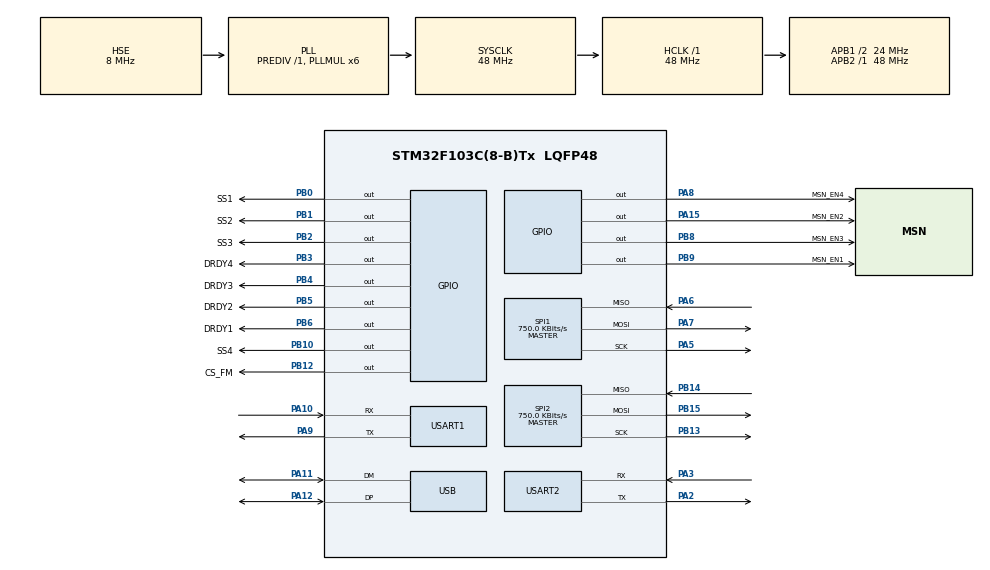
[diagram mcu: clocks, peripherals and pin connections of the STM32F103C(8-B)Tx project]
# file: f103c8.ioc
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Mcu.Family=STM32F1
Mcu.Name=STM32F103C(8-B)Tx
Mcu.Package=LQFP48
NVIC.PriorityGroup=NVIC_PRIORITYGROUP_4
NVIC.RTC_IRQn=true\:0\:0\:false\:false\:true\:true\:true
NVIC.SPI1_IRQn=true\:0\:0\:false\:false\:true\:true\:true
NVIC.SPI2_IRQn=true\:0\:0\:false\:false\:true\:true\:true
NVIC.USB_HP_CAN1_TX_IRQn=true\:0\:0\:false\:false\:true\:true\:true
NVIC.USB_LP_CAN1_RX0_IRQn=true\:0\:0\:false\:false\:true\:true\:true
PA10.Mode=Asynchronous
PA10.Signal=USART1_RX
PA11.Mode=Device
PA11.Signal=USB_DM
PA12.Mode=Device
PA12.Signal=USB_DP
PA13.Mode=Serial_Wire
PA13.Signal=SYS_JTMS-SWDIO
PA14.Mode=Serial_Wire
PA14.Signal=SYS_JTCK-SWCLK
PA15.GPIO_Label=MSN_EN2
PA15.Signal=GPIO_Output
PA2.Mode=Asynchronous
PA2.Signal=USART2_TX
PA3.Mode=Asynchronous
PA3.Signal=USART2_RX
PA5.Mode=Full_Duplex_Master
PA5.Signal=SPI1_SCK
PA6.Mode=Full_Duplex_Master
PA6.Signal=SPI1_MISO
PA7.Mode=Full_Duplex_Master
PA7.Signal=SPI1_MOSI
PA8.GPIO_Label=MSN_EN4
PA8.Signal=GPIO_Output
PA9.Mode=Asynchronous
PA9.Signal=USART1_TX
PB0.GPIO_Label=SS1
PB0.Signal=GPIO_Output
PB1.GPIO_Label=SS2
PB1.Signal=GPIO_Output
PB10.GPIO_Label=SS4
PB10.Signal=GPIO_Output
PB12.GPIO_Label=CS_FM
PB12.Signal=GPIO_Output
PB13.Mode=Full_Duplex_Master
PB13.Signal=SPI2_SCK
PB14.Mode=Full_Duplex_Master
PB14.Signal=SPI2_MISO
PB15.Mode=Full_Duplex_Master
PB15.Signal=SPI2_MOSI
PB2.GPIO_Label=SS3
PB2.Signal=GPIO_Output
PB3.GPIO_Label=DRDY4
PB3.Signal=GPIO_Output
PB4.GPIO_Label=DRDY3
PB4.Signal=GPIO_Output
PB5.GPIO_Label=DRDY2
PB5.Signal=GPIO_Output
PB6.GPIO_Label=DRDY1
PB6.Signal=GPIO_Output
PB8.GPIO_Label=MSN_EN3
PB8.Signal=GPIO_Output
PB9.GPIO_Label=MSN_EN1
PB9.Signal=GPIO_Output
PD0-OSC_IN.Mode=HSE-External-Oscillator
PD0-OSC_IN.Signal=RCC_OSC_IN
PD1-OSC_OUT.Mode=HSE-External-Oscillator
PD1-OSC_OUT.Signal=RCC_OSC_OUT
ProjectManager.HeapSize=0x200
ProjectManager.StackSize=0x400
ProjectManager.TargetToolchain=STM32CubeIDE
RCC.AHBFreq_Value=48000000
RCC.APB1CLKDivider=RCC_HCLK_DIV2
RCC.APB1Freq_Value=24000000
RCC.APB1TimFreq_Value=48000000
RCC.APB2Freq_Value=48000000
RCC.APB2TimFreq_Value=48000000
RCC.HCLKFreq_Value=48000000
RCC.PLLMUL=RCC_PLL_MUL6
RCC.PLLSourceVirtual=RCC_PLLSOURCE_HSE
RCC.SYSCLKFreq_VALUE=48000000
RCC.SYSCLKSource=RCC_SYSCLKSOURCE_PLLCLK
RCC.USBFreq_Value=48000000
SPI1.BaudRatePrescaler=SPI_BAUDRATEPRESCALER_64
SPI1.CalculateBaudRate=750.0 KBits/s
SPI1.Direction=SPI_DIRECTION_2LINES
SPI1.Mode=SPI_MODE_MASTER
SPI1.VirtualType=VM_MASTER
SPI2.BaudRatePrescaler=SPI_BAUDRATEPRESCALER_32
SPI2.CalculateBaudRate=750.0 KBits/s
SPI2.Direction=SPI_DIRECTION_2LINES
SPI2.Mode=SPI_MODE_MASTER
SPI2.VirtualType=VM_MASTER
USART1.VirtualMode=VM_ASYNC
USART2.VirtualMode=VM_ASYNC
VP_RTC_VS_RTC_Activate.Mode=RTC_Enabled
board=custom

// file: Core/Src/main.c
/* USER CODE BEGIN Header */
/**
  ******************************************************************************
  * @file           : main.c
  * @brief          : Main program body
  ******************************************************************************
  * @attention
  *
  * <h2><center>&copy; Copyright (c) 2024 STMicroelectronics.
  * All rights reserved.</center></h2>
  *
  * This software component is licensed by ST under BSD 3-Clause license,
  * the "License"; You may not use this file except in compliance with the
  * License. You may obtain a copy of the License at:
  *                        opensource.org/licenses/BSD-3-Clause
  *
  ******************************************************************************
  */
/* USER CODE END Header */
#include "main.h"

/* USER CODE BEGIN Includes */
#include "stdarg.h"
#include "RM3100QUAD.h"
/* USER CODE END Includes */

/* USER CODE BEGIN PTD */
//#define CDC_USB_DEBUG
#define UART_DEBUG
/* USER CODE END PTD */

/* USER CODE BEGIN PD */
#define sector_size 32
/* USER CODE END PD */

/* USER CODE BEGIN PM */
void myprintf(const char *fmt, ...);
/* USER CODE END PM */

RTC_HandleTypeDef hrtc;

SPI_HandleTypeDef hspi1;
SPI_HandleTypeDef hspi2;

UART_HandleTypeDef huart1;
UART_HandleTypeDef huart2;

PCD_HandleTypeDef hpcd_USB_FS;

/* USER CODE BEGIN PV */

//uint8_t tx[]={'S','A','N','G','A','M'};

uint16_t address = 0x00;
uint8_t status_reg=0;
uint8_t READ_FLAG=0;
int tx[70];
uint16_t time_counter=0;

uint8_t DEBUG_DATA_RX_FLAG = 0;
// variables used by the filesystem
typedef struct{
	uint32_t secCount;
	uint32_t bootCount;
}app_count_t;
uint8_t data[20];
app_count_t Counter = {0};

uint8_t COMMAND[] = {0x53,0x0e,0x0d,0x0e,0x01,0x7e};
uint8_t OBC_HANDSHAKE_SUCESS,OBC_HANDSHAKE_RX[7]={'\0'},OBC_HANDSHAKE_TX[7]={'\0'};//,OBC_HANDSHAKE_RX[7]={'\0'};
/* USER CODE END PV */

void SystemClock_Config(void);
static void MX_GPIO_Init(void);
static void MX_SPI1_Init(void);
static void MX_SPI2_Init(void);
static void MX_USART1_UART_Init(void);
static void MX_USART2_UART_Init(void);
static void MX_RTC_Init(void);
static void MX_USB_PCD_Init(void);
/* USER CODE BEGIN PFP */
uint8_t OBC_HANDSHAKE(){
	memset(OBC_HANDSHAKE_RX, '\0', sizeof(OBC_HANDSHAKE_RX));
	memset(OBC_HANDSHAKE_TX, '\0', sizeof(OBC_HANDSHAKE_TX));
	OBC_HANDSHAKE_SUCESS = 0;
	do{
	if(HAL_UART_Receive(&huart2, OBC_HANDSHAKE_RX, sizeof(OBC_HANDSHAKE_RX),1000)==HAL_OK){
		if(HAL_UART_Transmit(&huart2, OBC_HANDSHAKE_RX, sizeof(OBC_HANDSHAKE_RX), 3000)==HAL_OK){
			OBC_HANDSHAKE_SUCESS = 1;
			HAL_UART_Transmit(&huart1, "HANDSHAKE SUCCESSFULLY\n", "HANDSHAKE SUCCESSFULLY", 1000);
		}
	}
	}while(!OBC_HANDSHAKE_SUCESS);
	return OBC_HANDSHAKE_SUCESS;
}
uint8_t OBC_COMMAND(){
	memset(OBC_HANDSHAKE_RX, '\0', sizeof(OBC_HANDSHAKE_RX));
	memset(OBC_HANDSHAKE_TX, '\0', sizeof(OBC_HANDSHAKE_TX));
	OBC_HANDSHAKE_SUCESS = 0;
	do{
	if(HAL_UART_Receive(&huart2, OBC_HANDSHAKE_RX, sizeof(OBC_HANDSHAKE_RX),1000)==HAL_OK){
		if(HAL_UART_Transmit(&huart2, OBC_HANDSHAKE_RX, sizeof(OBC_HANDSHAKE_RX), 3000)==HAL_OK){
			if(OBC_HANDSHAKE_RX[0] == COMMAND[0] && OBC_HANDSHAKE_RX[1] == COMMAND[1] && OBC_HANDSHAKE_RX[2] == COMMAND[2] && OBC_HANDSHAKE_RX[3] == COMMAND[3] && OBC_HANDSHAKE_RX[4] == COMMAND[4] && OBC_HANDSHAKE_RX[5] == COMMAND[5] && OBC_HANDSHAKE_RX[6] == COMMAND[6] )
				{
				OBC_HANDSHAKE_SUCESS = 1;
				HAL_UART_Transmit(&huart1, "COMMAND SUCCESSFULLY\n", "COMMAND SUCCESSFULLY", 1000);

				}
		}
	}
	}while(!OBC_HANDSHAKE_SUCESS);
	return OBC_HANDSHAKE_SUCESS;
}
/* USER CODE END PFP */

/* USER CODE BEGIN 0 */

// Function to read data from a file in LittleFS

/* USER CODE END 0 */

int main(void)
{

  /* MCU Configuration--------------------------------------------------------*/

  /* Reset of all peripherals, Initializes the Flash interface and the Systick. */
  HAL_Init();

  /* Configure the system clock */
  SystemClock_Config();

  /* Initialize all configured peripherals */
  MX_GPIO_Init();
  MX_SPI1_Init();
  MX_SPI2_Init();
  MX_USART1_UART_Init();
  MX_USART2_UART_Init();
  MX_RTC_Init();
  MX_USB_PCD_Init();
  /* USER CODE BEGIN 2 */
//for(int i=0;i<6;i++){
//
// 	 write_to_file("/epdm_re.txt", "tet sfm test\n", sizeof("tet sfm test\n"));
// 	 HAL_Delay(10000);
//}
  HAL_UART_Transmit(&huart1, "*****************EPDM starting**************\n",sizeof("*****************EPDM starting**************\n"),1000);

  OBC_HANDSHAKE();
//  OBC_COMMAND();
  HAL_GPIO_WritePin(GPIOB, MSN_EN1_Pin, SET); // Set PB9 high
  HAL_GPIO_WritePin(GPIOB, MSN_EN2_Pin, SET); // Set PB8 high
  HAL_GPIO_WritePin(GPIOB, MSN_EN3_Pin, SET); // Set PA15 high
  HAL_GPIO_WritePin(GPIOB, MSN_EN4_Pin, SET); // Set PA8 high
  uint8_t data[20];

  while(1){
	  Read_ID(&hspi2, GPIOB, GPIO_PIN_12, data);
	  if(data[0] == 32){
		  break;
	  }
	  HAL_Delay(10000);
  }

    for(int i=0;i<4;i++){
    	SET_COUNT(i);
    	Continuous_Mode(i);
    	 TMRC_Mode(i);
    }
    int count=0;
//    while(count < 290)
//    {
//
//    		  }
    __init_storage();
    uint8_t eom[]={0xff,0xd9,'\0'};

  /* USER CODE END 2 */

  /* Infinite loop */
  /* USER CODE BEGIN WHILE */
  while (1)
  { time_counter +=1;
	  if(time_counter <= 3000){
		  for(int i=0;i<4;i++){

		  		  Mea_Result(i);
		  		  Comb_measurement(i);
		  	      count++;
		  	      }
//		  HAL_UART_Transmit(&huart1, "\n",1,1000);
//		      sprintf(tx,"\t\tTime counter value: %d\n\r\0",time_counter);
//		      HAL_UART_Transmit(&huart1,tx, strlen(tx),1000);
		  	  HAL_Delay(100);
	  }
	  else{
		  HAL_UART_Transmit(&huart2, eom, sizeof(eom),1000);
		  HAL_Delay(60000);
	  }
    /* USER CODE END WHILE */

    /* USER CODE BEGIN 3 */

//		  count++;
//		  if(count>0){
//			  break;
//		  }

  }
  /* USER CODE END 3 */
}

void SystemClock_Config(void)
{
  RCC_OscInitTypeDef RCC_OscInitStruct = {0};
  RCC_ClkInitTypeDef RCC_ClkInitStruct = {0};
  RCC_PeriphCLKInitTypeDef PeriphClkInit = {0};

  /** Initializes the RCC Oscillators according to the specified parameters
  * in the RCC_OscInitTypeDef structure.
  */
  RCC_OscInitStruct.OscillatorType = RCC_OSCILLATORTYPE_LSI|RCC_OSCILLATORTYPE_HSE;
  RCC_OscInitStruct.HSEState = RCC_HSE_ON;
  RCC_OscInitStruct.HSEPredivValue = RCC_HSE_PREDIV_DIV1;
  RCC_OscInitStruct.HSIState = RCC_HSI_ON;
  RCC_OscInitStruct.LSIState = RCC_LSI_ON;
  RCC_OscInitStruct.PLL.PLLState = RCC_PLL_ON;
  RCC_OscInitStruct.PLL.PLLSource = RCC_PLLSOURCE_HSE;
  RCC_OscInitStruct.PLL.PLLMUL = RCC_PLL_MUL6;
  if (HAL_RCC_OscConfig(&RCC_OscInitStruct) != HAL_OK)
  {
    Error_Handler();
  }
  /** Initializes the CPU, AHB and APB buses clocks
  */
  RCC_ClkInitStruct.ClockType = RCC_CLOCKTYPE_HCLK|RCC_CLOCKTYPE_SYSCLK
                              |RCC_CLOCKTYPE_PCLK1|RCC_CLOCKTYPE_PCLK2;
  RCC_ClkInitStruct.SYSCLKSource = RCC_SYSCLKSOURCE_PLLCLK;
  RCC_ClkInitStruct.AHBCLKDivider = RCC_SYSCLK_DIV1;
  RCC_ClkInitStruct.APB1CLKDivider = RCC_HCLK_DIV2;
  RCC_ClkInitStruct.APB2CLKDivider = RCC_HCLK_DIV1;

  if (HAL_RCC_ClockConfig(&RCC_ClkInitStruct, FLASH_LATENCY_1) != HAL_OK)
  {
    Error_Handler();
  }
  PeriphClkInit.PeriphClockSelection = RCC_PERIPHCLK_RTC|RCC_PERIPHCLK_USB;
  PeriphClkInit.RTCClockSelection = RCC_RTCCLKSOURCE_LSI;
  PeriphClkInit.UsbClockSelection = RCC_USBCLKSOURCE_PLL;
  if (HAL_RCCEx_PeriphCLKConfig(&PeriphClkInit) != HAL_OK)
  {
    Error_Handler();
  }
}

static void MX_RTC_Init(void)
{

  /** Initialize RTC Only
  */
  hrtc.Instance = RTC;
  hrtc.Init.AsynchPrediv = RTC_AUTO_1_SECOND;
  hrtc.Init.OutPut = RTC_OUTPUTSOURCE_ALARM;
  if (HAL_RTC_Init(&hrtc) != HAL_OK)
  {
    Error_Handler();
  }

}

static void MX_SPI1_Init(void)
{

  /* SPI1 parameter configuration*/
  hspi1.Instance = SPI1;
  hspi1.Init.Mode = SPI_MODE_MASTER;
  hspi1.Init.Direction = SPI_DIRECTION_2LINES;
  hspi1.Init.DataSize = SPI_DATASIZE_8BIT;
  hspi1.Init.CLKPolarity = SPI_POLARITY_LOW;
  hspi1.Init.CLKPhase = SPI_PHASE_1EDGE;
  hspi1.Init.NSS = SPI_NSS_SOFT;
  hspi1.Init.BaudRatePrescaler = SPI_BAUDRATEPRESCALER_64;
  hspi1.Init.FirstBit = SPI_FIRSTBIT_MSB;
  hspi1.Init.TIMode = SPI_TIMODE_DISABLE;
  hspi1.Init.CRCCalculation = SPI_CRCCALCULATION_DISABLE;
  hspi1.Init.CRCPolynomial = 10;
  if (HAL_SPI_Init(&hspi1) != HAL_OK)
  {
    Error_Handler();
  }

}

static void MX_SPI2_Init(void)
{

  /* SPI2 parameter configuration*/
  hspi2.Instance = SPI2;
  hspi2.Init.Mode = SPI_MODE_MASTER;
  hspi2.Init.Direction = SPI_DIRECTION_2LINES;
  hspi2.Init.DataSize = SPI_DATASIZE_8BIT;
  hspi2.Init.CLKPolarity = SPI_POLARITY_LOW;
  hspi2.Init.CLKPhase = SPI_PHASE_1EDGE;
  hspi2.Init.NSS = SPI_NSS_SOFT;
  hspi2.Init.BaudRatePrescaler = SPI_BAUDRATEPRESCALER_32;
  hspi2.Init.FirstBit = SPI_FIRSTBIT_MSB;
  hspi2.Init.TIMode = SPI_TIMODE_DISABLE;
  hspi2.Init.CRCCalculation = SPI_CRCCALCULATION_DISABLE;
  hspi2.Init.CRCPolynomial = 10;
  if (HAL_SPI_Init(&hspi2) != HAL_OK)
  {
    Error_Handler();
  }

}

static void MX_USART1_UART_Init(void)
{

  huart1.Instance = USART1;
  huart1.Init.BaudRate = 115200;
  huart1.Init.WordLength = UART_WORDLENGTH_8B;
  huart1.Init.StopBits = UART_STOPBITS_1;
  huart1.Init.Parity = UART_PARITY_NONE;
  huart1.Init.Mode = UART_MODE_TX_RX;
  huart1.Init.HwFlowCtl = UART_HWCONTROL_NONE;
  huart1.Init.OverSampling = UART_OVERSAMPLING_16;
  if (HAL_UART_Init(&huart1) != HAL_OK)
  {
    Error_Handler();
  }

}

static void MX_USART2_UART_Init(void)
{

  huart2.Instance = USART2;
  huart2.Init.BaudRate = 115200;
  huart2.Init.WordLength = UART_WORDLENGTH_8B;
  huart2.Init.StopBits = UART_STOPBITS_1;
  huart2.Init.Parity = UART_PARITY_NONE;
  huart2.Init.Mode = UART_MODE_TX_RX;
  huart2.Init.HwFlowCtl = UART_HWCONTROL_NONE;
  huart2.Init.OverSampling = UART_OVERSAMPLING_16;
  if (HAL_UART_Init(&huart2) != HAL_OK)
  {
    Error_Handler();
  }

}

static void MX_USB_PCD_Init(void)
{

  hpcd_USB_FS.Instance = USB;
  hpcd_USB_FS.Init.dev_endpoints = 8;
  hpcd_USB_FS.Init.speed = PCD_SPEED_FULL;
  hpcd_USB_FS.Init.low_power_enable = DISABLE;
  hpcd_USB_FS.Init.lpm_enable = DISABLE;
  hpcd_USB_FS.Init.battery_charging_enable = DISABLE;
  if (HAL_PCD_Init(&hpcd_USB_FS) != HAL_OK)
  {
    Error_Handler();
  }

}

static void MX_GPIO_Init(void)
{
  GPIO_InitTypeDef GPIO_InitStruct = {0};

  /* GPIO Ports Clock Enable */
  __HAL_RCC_GPIOD_CLK_ENABLE();
  __HAL_RCC_GPIOA_CLK_ENABLE();
  __HAL_RCC_GPIOB_CLK_ENABLE();

  /*Configure GPIO pin Output Level */
  HAL_GPIO_WritePin(GPIOB, SS1_Pin|SS2_Pin|SS3_Pin|SS4_Pin
                          |CS_FM_Pin|DRDY4_Pin|DRDY3_Pin|DRDY2_Pin
                          |DRDY1_Pin|MSN_EN3_Pin|MSN_EN1_Pin, GPIO_PIN_RESET);

  /*Configure GPIO pin Output Level */
  HAL_GPIO_WritePin(GPIOA, MSN_EN4_Pin|MSN_EN2_Pin, GPIO_PIN_RESET);

  /*Configure GPIO pins : SS1_Pin SS2_Pin SS3_Pin SS4_Pin
                           CS_FM_Pin DRDY4_Pin DRDY3_Pin DRDY2_Pin
                           DRDY1_Pin MSN_EN3_Pin MSN_EN1_Pin */
  GPIO_InitStruct.Pin = SS1_Pin|SS2_Pin|SS3_Pin|SS4_Pin
                          |CS_FM_Pin|DRDY4_Pin|DRDY3_Pin|DRDY2_Pin
                          |DRDY1_Pin|MSN_EN3_Pin|MSN_EN1_Pin;
  GPIO_InitStruct.Mode = GPIO_MODE_OUTPUT_PP;
  GPIO_InitStruct.Pull = GPIO_NOPULL;
  GPIO_InitStruct.Speed = GPIO_SPEED_FREQ_LOW;
  HAL_GPIO_Init(GPIOB, &GPIO_InitStruct);

  /*Configure GPIO pins : MSN_EN4_Pin MSN_EN2_Pin */
  GPIO_InitStruct.Pin = MSN_EN4_Pin|MSN_EN2_Pin;
  GPIO_InitStruct.Mode = GPIO_MODE_OUTPUT_PP;
  GPIO_InitStruct.Pull = GPIO_NOPULL;
  GPIO_InitStruct.Speed = GPIO_SPEED_FREQ_LOW;
  HAL_GPIO_Init(GPIOA, &GPIO_InitStruct);

}

/* USER CODE BEGIN 4 */
//void myprintf(const char *fmt, ...) {
//    va_list args;
//    va_start(args, fmt);
//    char buffer[100];
//    vsnprintf(buffer, sizeof(buffer), fmt, args);
//    HAL_UART_Transmit(&DEBUG_UART, (uint8_t*) buffer, strlen(buffer), HAL_MAX_DELAY);
//    va_end(args);
//}

/* USER CODE END 4 */

void Error_Handler(void)
{
  __disable_irq();
  while (1)
  {
  }
}

/************************ (C) COPYRIGHT STMicroelectronics *****END OF FILE****/
